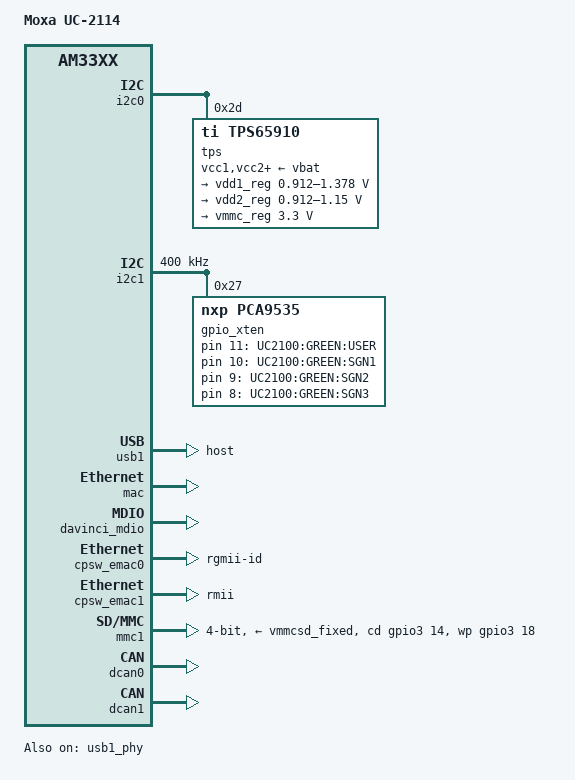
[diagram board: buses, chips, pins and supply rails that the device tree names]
// SPDX-License-Identifier: GPL-2.0
/*
 * Copyright (C) 2018 MOXA Inc. - https://www.moxa.com/
 *
 * Authors: SZ Lin (林上智) <sz.lin@moxa.com>
 *          Wes Huang (黃淵河) <wes.huang@moxa.com>
 *          Fero JD Zhou (周俊達) <FeroJD.Zhou@moxa.com>
 */

/dts-v1/;

#include "am335x-moxa-uc-2100-common.dtsi"

/ {
	model = "Moxa UC-2114";
	compatible = "moxa,uc-2114", "ti,am33xx";

	leds {
		compatible = "gpio-leds";
		led1 {
			label = "UC2100:GREEN:USER";
			gpios = <&gpio_xten 11 0>;
			default-state = "off";
		};

		led_cell_1 {
			label = "UC2100:GREEN:SGN1";
			gpios = <&gpio_xten 10 0>;
			default-state = "off";
		};

		led_cell_2 {
			label = "UC2100:GREEN:SGN2";
			gpios = <&gpio_xten 9 0>;
			default-state = "off";
		};

		led_cell_3 {
			label = "UC2100:GREEN:SGN3";
			gpios = <&gpio_xten 8 0>;
			default-state = "off";
		};
	};
};

&am33xx_pinmux {
	pinctrl-names = "default";

	i2c1_pins: pinmux_i2c1_pins {
		pinctrl-single,pins = <
			AM33XX_IOPAD(0x90c, PIN_INPUT_PULLUP | MUX_MODE3)    /* mii1_crs.i2c1_sda */
			AM33XX_IOPAD(0x910, PIN_INPUT_PULLUP | MUX_MODE3)    /* mii1_RXERR.i2c1_scl */
		>;
	};

	cpsw_default: cpsw_default {
		pinctrl-single,pins = <
			/* Slave 1 */
			AM33XX_IOPAD(0x914, PIN_OUTPUT_PULLDOWN | MUX_MODE2)	/* mii1_tx_en.rgmii1_tctl	*/
			AM33XX_IOPAD(0x918, PIN_INPUT_PULLUP | MUX_MODE2)	/* mii1_rx_dv.rgmii1_rctl	*/
			AM33XX_IOPAD(0x91c, PIN_OUTPUT_PULLDOWN | MUX_MODE2)	/* mii1_txd3.rgmii1_txd3	*/
			AM33XX_IOPAD(0x920, PIN_OUTPUT_PULLDOWN | MUX_MODE2)	/* mii1_txd2.rgmii1_txd2	*/
			AM33XX_IOPAD(0x924, PIN_OUTPUT_PULLDOWN | MUX_MODE2)	/* mii1_txd1.rgmii1_txd1	*/
			AM33XX_IOPAD(0x928, PIN_OUTPUT_PULLDOWN | MUX_MODE2)	/* mii1_txd0.rgmii1_txd0	*/
			AM33XX_IOPAD(0x92c, PIN_OUTPUT_PULLDOWN | MUX_MODE2)	/* mii1_tx_clk.rgmii1_txclk	*/
			AM33XX_IOPAD(0x930, PIN_INPUT_PULLUP | MUX_MODE2)	/* mii1_rx_clk.rgmii1_rxclk	*/
			AM33XX_IOPAD(0x934, PIN_INPUT_PULLUP | MUX_MODE2)	/* mii1_rxd3.rgmii1_rxd3	*/
			AM33XX_IOPAD(0x938, PIN_INPUT_PULLUP | MUX_MODE2)	/* mii1_rxd2.rgmii1_rxd2	*/
			AM33XX_IOPAD(0x93c, PIN_INPUT_PULLUP | MUX_MODE2)	/* mii1_rxd1.rgmii1_rxd1	*/
			AM33XX_IOPAD(0x940, PIN_INPUT_PULLUP | MUX_MODE2)	/* mii1_rxd0.rgmii1_rxd0	*/

			/* Slave 2 */
			AM33XX_IOPAD(0x870, PIN_INPUT_PULLDOWN | MUX_MODE3)	/* gpmc_wait0.rmii2_crs_dv */
			AM33XX_IOPAD(0x874, PIN_INPUT_PULLDOWN | MUX_MODE3)	/* gpmc_wpn.rmii2_rxer */
			AM33XX_IOPAD(0x840, PIN_OUTPUT_PULLDOWN | MUX_MODE3)	/* gpmc_a0.rmii2_txen */
			AM33XX_IOPAD(0x854, PIN_OUTPUT_PULLDOWN | MUX_MODE3)	/* gpmc_a5.rmii2_td0 */
			AM33XX_IOPAD(0x850, PIN_OUTPUT_PULLDOWN | MUX_MODE3)	/* gpmc_a4.rmii2_td1 */
			AM33XX_IOPAD(0x86c, PIN_INPUT_PULLDOWN | MUX_MODE3)	/* gpmc_a11.rmii2_rd0 */
			AM33XX_IOPAD(0x868, PIN_INPUT_PULLDOWN | MUX_MODE3)	/* gpmc_a10.rmii2_rd1 */
			AM33XX_IOPAD(0x908, PIN_INPUT_PULLDOWN | MUX_MODE1)	/* gmii1_col.rmii2_refclk */
		>;
	};

	mmc0_pins_default: pinmux_mmc0_pins {
		pinctrl-single,pins = <
			AM33XX_IOPAD(0x8f0, PIN_INPUT_PULLUP | MUX_MODE0)	/* mmc0_dat3 */
			AM33XX_IOPAD(0x8f4, PIN_INPUT_PULLUP | MUX_MODE0)	/* mmc0_dat2 */
			AM33XX_IOPAD(0x8f8, PIN_INPUT_PULLUP | MUX_MODE0)	/* mmc0_dat1 */
			AM33XX_IOPAD(0x8fc, PIN_INPUT_PULLUP | MUX_MODE0)	/* mmc0_dat0 */
			AM33XX_IOPAD(0x900, PIN_INPUT_PULLUP | MUX_MODE0)	/* mmc0_clk */
			AM33XX_IOPAD(0x904, PIN_INPUT_PULLUP | MUX_MODE0)	/* mmc0_cmd */
			AM33XX_IOPAD(0x990, PIN_INPUT_PULLUP | MUX_MODE7)	/* mcasp0_aclkx.mmc0_sdcd */
		>;
	};

	spi1_pins: pinmux_spi1 {
		pinctrl-single,pins = <
			AM33XX_IOPAD(0x964, PIN_INPUT_PULLUP | MUX_MODE4)	 /* ecap0_in_pwm0_out.spi1_sclk */
			AM33XX_IOPAD(0x944, PIN_INPUT_PULLUP | MUX_MODE2)	 /* rmii1_refclk.spi1_cs0 */
			AM33XX_IOPAD(0x968, PIN_INPUT_PULLUP | MUX_MODE4)	 /* uart0_ctsn.spi1_d0 */
			AM33XX_IOPAD(0x96c, PIN_INPUT_PULLUP | MUX_MODE4)	 /* uart0_rtsn.spi1_d1 */
		>;
	};

	dcan0_pins: dcan0_default_pins {
		pinctrl-single,pins = <
			AM33XX_IOPAD(0x97c, PIN_INPUT_PULLUP | MUX_MODE2)	/* uart1_rtsn.dcan0_rx */
			AM33XX_IOPAD(0x978, PIN_OUTPUT_PULLUP | MUX_MODE2)	/* uart1_ctsn.dcan0_tx */
		>;
	};

	dcan1_pins: dcan1_default_pins {
		pinctrl-single,pins = <
			AM33XX_IOPAD(0x984, PIN_INPUT_PULLUP | MUX_MODE2)	/* uart1_txd.dcan1_rx */
			AM33XX_IOPAD(0x980, PIN_OUTPUT_PULLUP | MUX_MODE2)	/* uart1_rxd.dcan1_tx */
		>;
	};
};

&i2c0 {
	tps: tps@2d {
		compatible = "ti,tps65910";
		reg = <0x2d>;
	};
};

&i2c1 {
	pinctrl-names = "default";
	pinctrl-0 = <&i2c1_pins>;

	status = "okay";
	clock-frequency = <400000>;
	gpio_xten: gpio_xten@27 {
		compatible = "nxp,pca9535";
		gpio-controller;
		#gpio-cells = <2>;
		reg = <0x27>;
	};
};

&usb1_phy {
	status = "okay";
};

&usb1 {
	status = "okay";
	dr_mode = "host";
};

#include "tps65910.dtsi"

&tps {
	vcc1-supply = <&vbat>;
	vcc2-supply = <&vbat>;
	vcc3-supply = <&vbat>;
	vcc4-supply = <&vbat>;
	vcc5-supply = <&vbat>;
	vcc6-supply = <&vbat>;
	vcc7-supply = <&vbat>;
	vccio-supply = <&vbat>;

	regulators {
		vrtc_reg: regulator@0 {
			regulator-always-on;
		};

		vio_reg: regulator@1 {
			regulator-always-on;
		};

		vdd1_reg: regulator@2 {
			/* VDD_MPU voltage limits 0.95V - 1.26V with +/-4% tolerance */
			regulator-name = "vdd_mpu";
			regulator-min-microvolt = <912500>;
			regulator-max-microvolt = <1378000>;
			regulator-boot-on;
			regulator-always-on;
		};

		vdd2_reg: regulator@3 {
			/* VDD_CORE voltage limits 0.95V - 1.1V with +/-4% tolerance */
			regulator-name = "vdd_core";
			regulator-min-microvolt = <912500>;
			regulator-max-microvolt = <1150000>;
			regulator-boot-on;
			regulator-always-on;
		};

		vdd3_reg: regulator@4 {
			regulator-always-on;
		};

		vdig1_reg: regulator@5 {
			regulator-always-on;
		};

		vdig2_reg: regulator@6 {
			regulator-always-on;
		};

		vpll_reg: regulator@7 {
			regulator-always-on;
		};

		vdac_reg: regulator@8 {
			regulator-always-on;
		};

		vaux1_reg: regulator@9 {
			regulator-always-on;
		};

		vaux2_reg: regulator@10 {
			regulator-always-on;
		};

		vaux33_reg: regulator@11 {
			regulator-always-on;
		};

		vmmc_reg: regulator@12 {
			compatible = "regulator-fixed";
			regulator-name = "vmmc_reg";
			regulator-min-microvolt = <3300000>;
			regulator-max-microvolt = <3300000>;
			regulator-always-on;
		};
	};
};

&mac {
	pinctrl-names = "default";
	pinctrl-0 = <&cpsw_default>;
	dual_emac = <1>;
	status = "okay";
};

&davinci_mdio {
	pinctrl-names = "default";
	pinctrl-0 = <&davinci_mdio_default>;
	status = "okay";
};

&cpsw_emac0 {
	status = "okay";
	phy_id = <&davinci_mdio>, <0x1>;
	phy-mode = "rgmii-id";
	dual_emac_res_vlan = <1>;
};

&cpsw_emac1 {
	status = "okay";
	phy_id = <&davinci_mdio>, <0x5>;
	phy-mode = "rmii";
	dual_emac_res_vlan = <2>;
};

&mmc1 {
	pinctrl-names = "default";
	vmmc-supply = <&vmmcsd_fixed>;
	bus-width = <4>;
	pinctrl-0 = <&mmc0_pins_default>;
	cd-gpios = <&gpio3 14 GPIO_ACTIVE_HIGH>;
	wp-gpios = <&gpio3 18 GPIO_ACTIVE_HIGH>;
	status = "okay";
};

&dcan0 {
	status = "okay";
	pinctrl-names = "default";
	pinctrl-0 = <&dcan0_pins>;
};

&dcan1 {
	status = "okay";
	pinctrl-names = "default";
	pinctrl-0 = <&dcan1_pins>;
};
